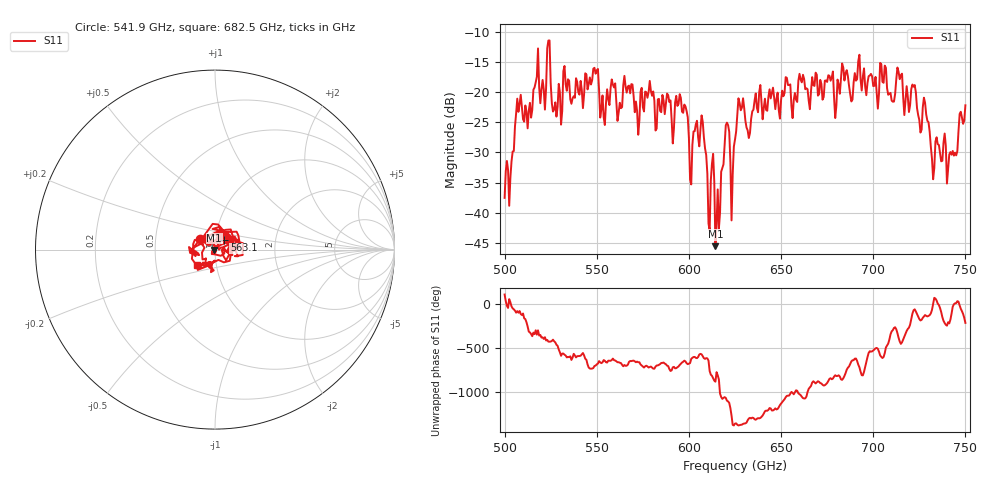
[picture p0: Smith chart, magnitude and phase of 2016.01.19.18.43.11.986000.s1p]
!Created with skrf (http://scikit-rf.org).
# GHz S RI R 50.0
!freq ReS11 ImS11
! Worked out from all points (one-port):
!   401 points, 500 GHz to 750 GHz, reference 50 ohm
!   lowest |S11| = -45.6 dB at 614.4 GHz (marker M1), VSWR 1.01, Z = 49.5 - j0.129 ohm
!   |S11| at or under -10 dB: start of sweep to end of sweep
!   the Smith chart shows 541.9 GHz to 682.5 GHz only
!   S11 on the Smith chart (normalised r, x): 541.9 GHz: 0.84, +0.10; 563.1 GHz: 1.10, +0.12; 682.5 GHz: 0.81, -0.14
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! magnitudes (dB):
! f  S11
! 500 GHz  -37.5
! 507.5 GHz  -23.2
! 523.8 GHz  -11.4
! 526.9 GHz  -22.9
! 531.2 GHz  -23.1
! 541.9 GHz  -19.6
! 549.4 GHz  -16.9
! 553.1 GHz  -20.5
! 558.8 GHz  -18.7
! 562.5 GHz  -21.7
! 563.1 GHz  -22.6
! 593.8 GHz  -22.3
! 601.2 GHz  -35.3
! 607.5 GHz  -24.9
! 610.6 GHz  -41.8
! 614.4 GHz  -45.6
! 615.6 GHz  -36.1
! 620.6 GHz  -25.0
! 623.1 GHz  -41.3
! 625 GHz  -27.9
! 628.1 GHz  -23.0
! 631.9 GHz  -26.3
! 656.2 GHz  -24.3
! 682.5 GHz  -17.8
! 687.5 GHz  -20.3
! 718.8 GHz  -20.7
! 741.2 GHz  -30.3
! 750 GHz  -22.2
